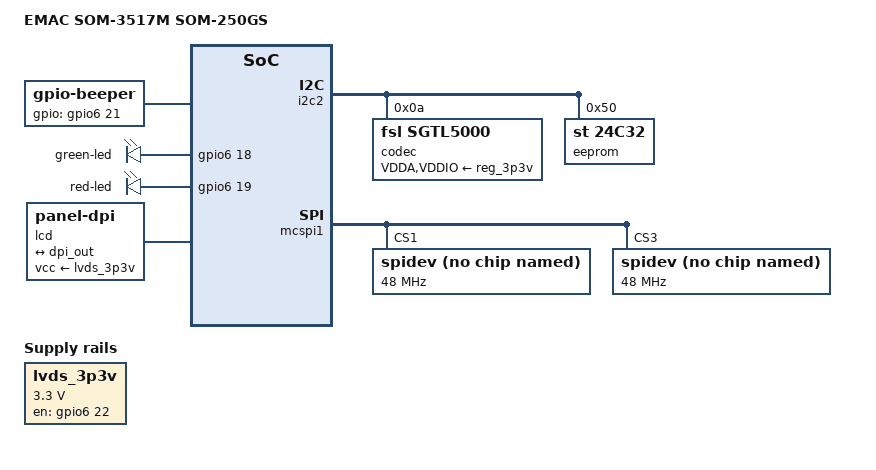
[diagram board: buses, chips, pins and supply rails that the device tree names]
/*
 * som-3517-250gs.dts - Device Tree file for the SOM-3517M with SOM-250GS. 
 *
 * Copyright (C) 2017 EMAC Inc.
 *
 * This program is free software; you can redistribute it and/or modify
 * it under the terms of the GNU General Public License version 2 as
 * published by the Free Software Foundation.
 */

/dts-v1/;

#include "som-3517.dtsi"

/ {
	model = "EMAC SOM-3517M SOM-250GS";


	beeper {
		compatible = "gpio-beeper";
		gpios = <&gpio6 21 GPIO_ACTIVE_HIGH>;
		status = "okay";
	};

	leds {
		pinctrl-names = "default";
		pinctrl-0 = <&leds_pins>;

		compatible = "gpio-leds";

		led@1 {
			label = "green-led";
			gpios = <&gpio6 18 GPIO_ACTIVE_HIGH>;
			default-state = "on";
		};

		led@2 {
			label = "red-led";
			gpios = <&gpio6 19 GPIO_ACTIVE_HIGH>;
			default-state = "on";
		};
	};

	lvds_3p3v: lvds_3p3v_reg {
		compatible = "regulator-fixed";
		regulator-name = "LVDS 3P3V";
		regulator-min-microvolt = <3300000>;
		regulator-max-microvolt = <3300000>;
		regulator-boot-on;
		enable-active-high;
		gpio = <&gpio6 22 GPIO_ACTIVE_HIGH>;
	};

	lcd0: display {
		compatible = "panel-dpi";
		vcc-supply = <&lvds_3p3v>;
		label = "lcd";
		panel-timing {
			hactive		= <800>;
			vactive		= <480>;
			hback-porch     = <86>;
			hfront-porch    = <42>;
			hsync-len       = <128>;
			vback-porch     = <33>;
			vfront-porch    = <10>;
			vsync-len       = <2>;
			clock-frequency = <32000000>;
			hsync-active    = <0>;
			vsync-active    = <0>;
			de-active = <1>;
			pixelclk-active = <1>;
		};

		port {
			lcd_in: endpoint {
				remote-endpoint = <&dpi_out>;
			};
		};
	};

	sound {
		compatible = "simple-audio-card";
		simple-audio-card,format = "i2s";
		simple-audio-card,name = "som-250gs sgtl5000";
		simple-audio-card,widgets =
			"Microphone", "Microphone Jack",
			"Headphone", "Headphone Jack",
			"Speaker", "Speaker Ext",
			"Line", "Line In Jack";
		simple-audio-card,routing =
			"MIC_IN", "Microphone Jack",
			"Microphone Jack", "Mic Bias",
			"LINE_IN", "Line In Jack",
			"Headphone Jack", "HP_OUT",
			"Speaker Ext", "LINE_OUT";

		simple-audio-card,cpu {
			sound-dai = <&mcbsp2>;
		};

		sound_master: simple-audio-card,codec {
			sound-dai = <&codec>;
			clocks = <&clock_gpio>;
			frame-master;
			bitclock-master;
		};
	};
};

&omap3_pmx_core {
	leds_pins: pinmux_leds_pins {
		pinctrl-single,pins = <
			OMAP3_CORE1_IOPAD(0x21D6, PIN_OUTPUT | MUX_MODE4)   /* mcspi2_clk.gpio_178 */
			OMAP3_CORE1_IOPAD(0x21D8, PIN_OUTPUT | MUX_MODE4)
		>;
	};
};

&i2c2 {
	status = "okay";

	codec: sgtl5000@0a {
		#sound-dai-cells = <0>;
		compatible = "fsl,sgtl5000";
		reg = <0x0a>;
		VDDA-supply = <&reg_3p3v>;
		VDDIO-supply = <&reg_3p3v>;
		clocks = <&clock_gpio>;
	};

	eeprom@50 {
		compatible = "st,24c32";
		reg = <0x50>;
		pagesize = <32>;
	};

};

&mcspi1 {
	spidev@1 {
		compatible = "emac,spidev";
		spi-max-frequency = <48000000>;
		reg = <1>;
	};

	spidev@3 {
		compatible = "emac,spidev";
		spi-max-frequency = <48000000>;
		reg = <3>;
	};
};
